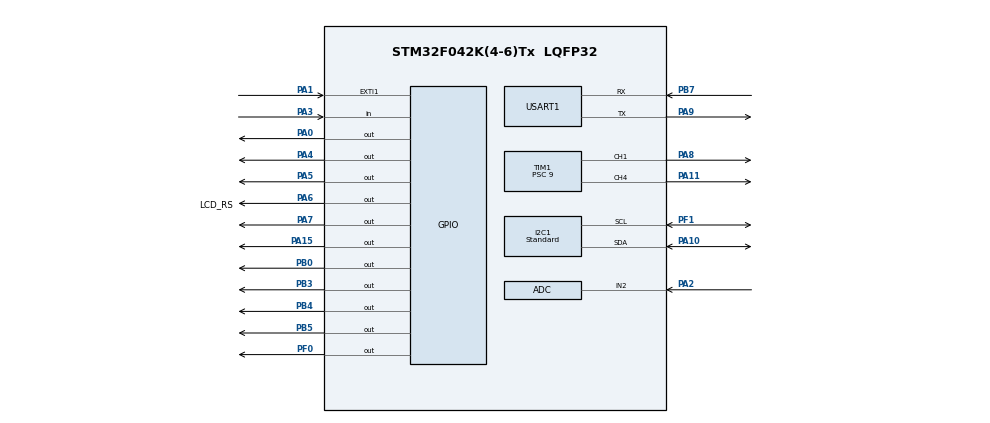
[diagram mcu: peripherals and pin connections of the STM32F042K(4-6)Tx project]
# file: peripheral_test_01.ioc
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Mcu.Family=STM32F0
SH.S_TIM1_CH4.0=TIM1_CH4,PWM Generation4 CH4
I2C1.I2C_Speed_Mode=I2C_Standard
Dma.ADC.0.Mode=DMA_CIRCULAR
Dma.ADC.0.Priority=DMA_PRIORITY_LOW
PA6.GPIO_Label=LCD_RS
TIM1.Pulse-PWM\ Generation1\ CH1=100
ProjectManager.StackSize=0x400
TIM1.Prescaler=9
NVIC.ADC1_IRQn=true\:2\:0\:true\:false\:true\:true\:true
TIM1.Channel-PWM\ Generation4\ CH4=TIM_CHANNEL_4
Dma.ADC.0.PeriphInc=DMA_PINC_DISABLE
TIM3.Period=199
Dma.ADC.0.Direction=DMA_PERIPH_TO_MEMORY
TIM14.Period=999
TIM1.Channel-PWM\ Generation1\ CH1=TIM_CHANNEL_1
TIM3.Prescaler=9999
PB7.Signal=USART1_RX
PA8.Signal=S_TIM1_CH1
VP_TIM1_VS_ClockSourceINT.Mode=Internal
PA0.Signal=GPIO_Output
Dma.ADC.0.MemInc=DMA_MINC_ENABLE
Mcu.Package=LQFP32
PA6.Signal=GPIO_Output
Dma.ADC.0.Instance=DMA1_Channel1
PA10.Signal=I2C1_SDA
PA15.Signal=GPIO_Output
Dma.ADC.0.MemDataAlignment=DMA_MDATAALIGN_HALFWORD
TIM1.Period=799
VP_TIM14_VS_ClockSourceINT.Mode=Enable_Timer
PF1-OSC_OUT.Mode=I2C
Dma.Request0=ADC
PA1.GPIO_ModeDefaultEXTI=GPIO_MODE_IT_RISING
ADC.ExternalTrigConv=ADC_EXTERNALTRIGCONV_T3_TRGO
VP_TIM3_VS_ClockSourceINT.Mode=Internal
PF1-OSC_OUT.Signal=I2C1_SCL
PB4.Signal=GPIO_Output
PA3.Signal=GPIO_Input
NVIC.TIM14_IRQn=true\:0\:0\:false\:false\:true\:true\:true
PA10.Mode=I2C
TIM3.AutoReloadPreload=TIM_AUTORELOAD_PRELOAD_ENABLE
ADC.ClockPrescaler=ADC_CLOCK_ASYNC_DIV1
Dma.ADC.0.PeriphDataAlignment=DMA_PDATAALIGN_HALFWORD
ADC.EnableAnalogWatchDog=false
USART1.VirtualMode-Asynchronous=VM_ASYNC
TIM1.AutoReloadPreload=TIM_AUTORELOAD_PRELOAD_ENABLE
PA9.Mode=Asynchronous
SH.S_TIM1_CH1.0=TIM1_CH1,PWM Generation1 CH1
ProjectManager.TargetToolchain=STM32CubeIDE
PA9.Signal=USART1_TX
PA1.Signal=GPXTI1
PA5.Signal=GPIO_Output
ADC.DMAContinuousRequests=ENABLE
board=custom
NVIC.TIM3_IRQn=true\:0\:0\:false\:false\:true\:true\:true
TIM1.TIM_MasterOutputTrigger=TIM_TRGO_UPDATE
ADC.EOCSelection=ADC_EOC_SEQ_CONV
Mcu.Name=STM32F042K(4-6)Tx
TIM14.Prescaler=9999
PA2.Signal=ADC_IN2
ADC.Overrun=ADC_OVR_DATA_OVERWRITTEN
PB3.Signal=GPIO_Output
PA4.Signal=GPIO_Output
PB5.Signal=GPIO_Output
PB7.Mode=Asynchronous
PA11.Signal=S_TIM1_CH4
ProjectManager.HeapSize=0x200
PA2.Mode=IN2
NVIC.DMA1_Channel1_IRQn=true\:0\:0\:false\:false\:true\:false\:true
PF0-OSC_IN.Signal=GPIO_Output
TIM3.TIM_MasterOutputTrigger=TIM_TRGO_UPDATE
PB0.Signal=GPIO_Output
PA7.Signal=GPIO_Output
NVIC.EXTI0_1_IRQn=true\:2\:0\:true\:false\:true\:true\:true

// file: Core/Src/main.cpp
/* USER CODE BEGIN Header */
/**
 ******************************************************************************
 * @file           : main.c
 * @brief          : Main program body
 ******************************************************************************
 * @attention
 *
 * <h2><center>&copy; Copyright (c) 2020 STMicroelectronics.
 * All rights reserved.</center></h2>
 *
 * This software component is licensed by ST under BSD 3-Clause license,
 * the "License"; You may not use this file except in compliance with the
 * License. You may obtain a copy of the License at:
 *                        opensource.org/licenses/BSD-3-Clause
 *
 ******************************************************************************
 */
/* USER CODE END Header */

#include <rotaryencoder.hpp>
#include "main.h"

/* USER CODE BEGIN Includes */
#include <stdio.h>
#include "bmp180.hpp"
#include "st7032.hpp"
#include "sht3x.hpp"
#include "mcp47x6.hpp"
#include "hd44780.hpp"
/* USER CODE END Includes */

/* USER CODE BEGIN PD */
#ifdef __GNUC__
#define PUTCHAR_PROTOTYPE int __io_putchar(int ch)
#else
#define PUTCHAR_PROTOTYPE int fputc(int ch, FILE *f)
#endif /* __GNUC__ */
/* USER CODE END PD */

ADC_HandleTypeDef hadc;
DMA_HandleTypeDef hdma_adc;

I2C_HandleTypeDef hi2c1;

TIM_HandleTypeDef htim1;
TIM_HandleTypeDef htim3;
TIM_HandleTypeDef htim14;

UART_HandleTypeDef huart1;

/* USER CODE BEGIN PV */
static uint16_t adcData[1];
const uint16_t int2bin[] = {0x6565 ,0x4001, 0xE4E4, 0xE4A5, 0xC181, 0xA5A5, 0xA5E5, 0x6401, 0xE5E5, 0xE5A5};
int incremental = 0;
RotaryEncoder renc(GPIOA, GPIO_PIN_3);
/* USER CODE END PV */

void SystemClock_Config(void);
static void MX_GPIO_Init(void);
static void MX_DMA_Init(void);
static void MX_USART1_UART_Init(void);
static void MX_ADC_Init(void);
static void MX_I2C1_Init(void);
static void MX_TIM3_Init(void);
static void MX_TIM14_Init(void);
static void MX_TIM1_Init(void);
/* USER CODE BEGIN PFP */
void setPWM(TIM_HandleTypeDef *htim, uint32_t Channel, float duty);
void setSegment16(GPIO_TypeDef* serPort, uint16_t serPin, GPIO_TypeDef* srclkPort, uint16_t srclkPin, GPIO_TypeDef* rclkPort, uint16_t rclkPin, uint16_t *data, uint8_t len);
void convertInt2Bin(int val, uint16_t *data, uint8_t len);
/* USER CODE END PFP */

int main(void)
{

  /* MCU Configuration--------------------------------------------------------*/

  /* Reset of all peripherals, Initializes the Flash interface and the Systick. */
  HAL_Init();

  /* Configure the system clock */
  SystemClock_Config();

  /* Initialize all configured peripherals */
  MX_GPIO_Init();
  MX_DMA_Init();
  MX_USART1_UART_Init();
  MX_ADC_Init();
  MX_I2C1_Init();
  MX_TIM3_Init();
  MX_TIM14_Init();
  MX_TIM1_Init();
  /* USER CODE BEGIN 2 */

  setbuf(stdout, NULL);

  uint16_t data[6];

  St7032 lcd(hi2c1);
  lcd.Init();
  char str[8];

  int volt = 0;
  bool flag = true;
  Mcp47x6 dac(hi2c1);

  Sht3x sht(hi2c1);
  float temp2, humi2;

  Bmp180 bmp(hi2c1);
  while(!bmp.TestConnection());
  bmp.Init();

  GPIO_TypeDef* dataPorts[] = {GPIOA, GPIOB, GPIOB, GPIOB};
  uint16_t dataPins[] = {GPIO_PIN_15, GPIO_PIN_3, GPIO_PIN_4, GPIO_PIN_5};

  Hd44780 lcd2(LCD_4BITMODE,
              GPIOA, GPIO_PIN_6,
              GPIOA, GPIO_PIN_7,
              GPIOB, GPIO_PIN_0,
              dataPorts, dataPins);
  lcd2.Init();
  lcd2.SendData('i');
  lcd2.Puts("test123456");
  lcd2.SetCursor(1, 2);
  lcd2.Puts("JP7FKF");
  HAL_Delay(1000);
  lcd2.Clear();
  lcd2.Puts("AH0CV!");
  HAL_Delay(1000);
  lcd2.Clear();
  lcd2.Puts("HOME!");

  int i = 999909;

//  if(HAL_ADCEx_Calibration_Start(&hadc) != HAL_OK)
//    Error_Handler();
  HAL_ADC_Start_DMA(&hadc,(uint32_t *)adcData, 1);

  /* USER CODE END 2 */

  /* Infinite loop */
  /* USER CODE BEGIN WHILE */
  while (1)
  {
//    HAL_GPIO_TogglePin(GPIOF, GPIO_PIN_0);

    if (flag)
    {
      volt += 50;
      if(volt >= 4095){
        volt = 4095;
        flag = false;
      }
    }else{
      volt -= 50;
      if(volt<0){
        volt = 0;
        flag = true;
      }
    }
    dac.SetDacOut(volt);

    sht.GetTemperatureHumiditySingleShot(&temp2, &humi2);
    lcd.Home();
    sprintf(str, "%d", (int)temp2);
    lcd.Puts(str);
    sprintf(str, "%d", (int)humi2);
    lcd.SetCursor(0,4);
    lcd.Puts(str);
    sprintf(str, "%4d", (int)adcData[0]);
    lcd.SetCursor(1,0);
    lcd.Puts(str);

//    printf("TEMP1: %d  Deg.\r\n", (int)temp2);
//    printf("HUMI1: %d  %%  \r\n", (int)humi2);
//    printf("TEMP2: %d  Deg.\r\n", (int)bmp.GetTemperatureCelsius());
//    printf("PRES2: %d  hPa \r\n", (int)bmp.GetPressure(3)/100);
//    printf("Alt.: %4.2f m  \r\n", bmp.CalcAltitude(humi2, 0));

//    printf("normal loop ended\r\n");

    convertInt2Bin(i, data, 6);
    setSegment16(GPIOA, GPIO_PIN_4, GPIOA,GPIO_PIN_5, GPIOA,GPIO_PIN_0, data, 6);
    i++;
    HAL_Delay(100);
    /* USER CODE END WHILE */

  }
}

void SystemClock_Config(void)
{
  RCC_OscInitTypeDef RCC_OscInitStruct = {0};
  RCC_ClkInitTypeDef RCC_ClkInitStruct = {0};
  RCC_PeriphCLKInitTypeDef PeriphClkInit = {0};

  /** Initializes the CPU, AHB and APB busses clocks
  */
  RCC_OscInitStruct.OscillatorType = RCC_OSCILLATORTYPE_HSI|RCC_OSCILLATORTYPE_HSI14;
  RCC_OscInitStruct.HSIState = RCC_HSI_ON;
  RCC_OscInitStruct.HSI14State = RCC_HSI14_ON;
  RCC_OscInitStruct.HSICalibrationValue = RCC_HSICALIBRATION_DEFAULT;
  RCC_OscInitStruct.HSI14CalibrationValue = 16;
  RCC_OscInitStruct.PLL.PLLState = RCC_PLL_NONE;
  if (HAL_RCC_OscConfig(&RCC_OscInitStruct) != HAL_OK)
  {
    Error_Handler();
  }
  /** Initializes the CPU, AHB and APB busses clocks
  */
  RCC_ClkInitStruct.ClockType = RCC_CLOCKTYPE_HCLK|RCC_CLOCKTYPE_SYSCLK
                              |RCC_CLOCKTYPE_PCLK1;
  RCC_ClkInitStruct.SYSCLKSource = RCC_SYSCLKSOURCE_HSI;
  RCC_ClkInitStruct.AHBCLKDivider = RCC_SYSCLK_DIV1;
  RCC_ClkInitStruct.APB1CLKDivider = RCC_HCLK_DIV1;

  if (HAL_RCC_ClockConfig(&RCC_ClkInitStruct, FLASH_LATENCY_0) != HAL_OK)
  {
    Error_Handler();
  }
  PeriphClkInit.PeriphClockSelection = RCC_PERIPHCLK_USART1|RCC_PERIPHCLK_I2C1;
  PeriphClkInit.Usart1ClockSelection = RCC_USART1CLKSOURCE_PCLK1;
  PeriphClkInit.I2c1ClockSelection = RCC_I2C1CLKSOURCE_HSI;
  if (HAL_RCCEx_PeriphCLKConfig(&PeriphClkInit) != HAL_OK)
  {
    Error_Handler();
  }
}

static void MX_ADC_Init(void)
{

  ADC_ChannelConfTypeDef sConfig = {0};

  /** Configure the global features of the ADC (Clock, Resolution, Data Alignment and number of conversion)
  */
  hadc.Instance = ADC1;
  hadc.Init.ClockPrescaler = ADC_CLOCK_ASYNC_DIV1;
  hadc.Init.Resolution = ADC_RESOLUTION_12B;
  hadc.Init.DataAlign = ADC_DATAALIGN_RIGHT;
  hadc.Init.ScanConvMode = ADC_SCAN_DIRECTION_FORWARD;
  hadc.Init.EOCSelection = ADC_EOC_SEQ_CONV;
  hadc.Init.LowPowerAutoWait = DISABLE;
  hadc.Init.LowPowerAutoPowerOff = DISABLE;
  hadc.Init.ContinuousConvMode = DISABLE;
  hadc.Init.DiscontinuousConvMode = DISABLE;
  hadc.Init.ExternalTrigConv = ADC_EXTERNALTRIGCONV_T3_TRGO;
  hadc.Init.ExternalTrigConvEdge = ADC_EXTERNALTRIGCONVEDGE_RISING;
  hadc.Init.DMAContinuousRequests = ENABLE;
  hadc.Init.Overrun = ADC_OVR_DATA_OVERWRITTEN;
  if (HAL_ADC_Init(&hadc) != HAL_OK)
  {
    Error_Handler();
  }
  /** Configure for the selected ADC regular channel to be converted.
  */
  sConfig.Channel = ADC_CHANNEL_2;
  sConfig.Rank = ADC_RANK_CHANNEL_NUMBER;
  sConfig.SamplingTime = ADC_SAMPLETIME_1CYCLE_5;
  if (HAL_ADC_ConfigChannel(&hadc, &sConfig) != HAL_OK)
  {
    Error_Handler();
  }

}

static void MX_I2C1_Init(void)
{

  hi2c1.Instance = I2C1;
  hi2c1.Init.Timing = 0x2000090E;
  hi2c1.Init.OwnAddress1 = 0;
  hi2c1.Init.AddressingMode = I2C_ADDRESSINGMODE_7BIT;
  hi2c1.Init.DualAddressMode = I2C_DUALADDRESS_DISABLE;
  hi2c1.Init.OwnAddress2 = 0;
  hi2c1.Init.OwnAddress2Masks = I2C_OA2_NOMASK;
  hi2c1.Init.GeneralCallMode = I2C_GENERALCALL_DISABLE;
  hi2c1.Init.NoStretchMode = I2C_NOSTRETCH_DISABLE;
  if (HAL_I2C_Init(&hi2c1) != HAL_OK)
  {
    Error_Handler();
  }
  /** Configure Analogue filter
  */
  if (HAL_I2CEx_ConfigAnalogFilter(&hi2c1, I2C_ANALOGFILTER_ENABLE) != HAL_OK)
  {
    Error_Handler();
  }
  /** Configure Digital filter
  */
  if (HAL_I2CEx_ConfigDigitalFilter(&hi2c1, 0) != HAL_OK)
  {
    Error_Handler();
  }

}

static void MX_TIM1_Init(void)
{

  TIM_ClockConfigTypeDef sClockSourceConfig = {0};
  TIM_MasterConfigTypeDef sMasterConfig = {0};
  TIM_OC_InitTypeDef sConfigOC = {0};
  TIM_BreakDeadTimeConfigTypeDef sBreakDeadTimeConfig = {0};

  htim1.Instance = TIM1;
  htim1.Init.Prescaler = 9;
  htim1.Init.CounterMode = TIM_COUNTERMODE_UP;
  htim1.Init.Period = 799;
  htim1.Init.ClockDivision = TIM_CLOCKDIVISION_DIV1;
  htim1.Init.RepetitionCounter = 0;
  htim1.Init.AutoReloadPreload = TIM_AUTORELOAD_PRELOAD_ENABLE;
  if (HAL_TIM_Base_Init(&htim1) != HAL_OK)
  {
    Error_Handler();
  }
  sClockSourceConfig.ClockSource = TIM_CLOCKSOURCE_INTERNAL;
  if (HAL_TIM_ConfigClockSource(&htim1, &sClockSourceConfig) != HAL_OK)
  {
    Error_Handler();
  }
  if (HAL_TIM_PWM_Init(&htim1) != HAL_OK)
  {
    Error_Handler();
  }
  sMasterConfig.MasterOutputTrigger = TIM_TRGO_UPDATE;
  sMasterConfig.MasterSlaveMode = TIM_MASTERSLAVEMODE_DISABLE;
  if (HAL_TIMEx_MasterConfigSynchronization(&htim1, &sMasterConfig) != HAL_OK)
  {
    Error_Handler();
  }
  sConfigOC.OCMode = TIM_OCMODE_PWM1;
  sConfigOC.Pulse = 100;
  sConfigOC.OCPolarity = TIM_OCPOLARITY_HIGH;
  sConfigOC.OCNPolarity = TIM_OCNPOLARITY_HIGH;
  sConfigOC.OCFastMode = TIM_OCFAST_DISABLE;
  sConfigOC.OCIdleState = TIM_OCIDLESTATE_RESET;
  sConfigOC.OCNIdleState = TIM_OCNIDLESTATE_RESET;
  if (HAL_TIM_PWM_ConfigChannel(&htim1, &sConfigOC, TIM_CHANNEL_1) != HAL_OK)
  {
    Error_Handler();
  }
  sConfigOC.Pulse = 0;
  if (HAL_TIM_PWM_ConfigChannel(&htim1, &sConfigOC, TIM_CHANNEL_4) != HAL_OK)
  {
    Error_Handler();
  }
  sBreakDeadTimeConfig.OffStateRunMode = TIM_OSSR_DISABLE;
  sBreakDeadTimeConfig.OffStateIDLEMode = TIM_OSSI_DISABLE;
  sBreakDeadTimeConfig.LockLevel = TIM_LOCKLEVEL_OFF;
  sBreakDeadTimeConfig.DeadTime = 0;
  sBreakDeadTimeConfig.BreakState = TIM_BREAK_DISABLE;
  sBreakDeadTimeConfig.BreakPolarity = TIM_BREAKPOLARITY_HIGH;
  sBreakDeadTimeConfig.AutomaticOutput = TIM_AUTOMATICOUTPUT_DISABLE;
  if (HAL_TIMEx_ConfigBreakDeadTime(&htim1, &sBreakDeadTimeConfig) != HAL_OK)
  {
    Error_Handler();
  }
  /* USER CODE BEGIN TIM1_Init 2 */

  HAL_TIM_PWM_Start(&htim1, TIM_CHANNEL_1);
  HAL_TIM_PWM_Start(&htim1, TIM_CHANNEL_4);
  /* USER CODE END TIM1_Init 2 */
  HAL_TIM_MspPostInit(&htim1);

}

static void MX_TIM3_Init(void)
{

  TIM_ClockConfigTypeDef sClockSourceConfig = {0};
  TIM_MasterConfigTypeDef sMasterConfig = {0};

  htim3.Instance = TIM3;
  htim3.Init.Prescaler = 9999;
  htim3.Init.CounterMode = TIM_COUNTERMODE_UP;
  htim3.Init.Period = 199;
  htim3.Init.ClockDivision = TIM_CLOCKDIVISION_DIV1;
  htim3.Init.AutoReloadPreload = TIM_AUTORELOAD_PRELOAD_ENABLE;
  if (HAL_TIM_Base_Init(&htim3) != HAL_OK)
  {
    Error_Handler();
  }
  sClockSourceConfig.ClockSource = TIM_CLOCKSOURCE_INTERNAL;
  if (HAL_TIM_ConfigClockSource(&htim3, &sClockSourceConfig) != HAL_OK)
  {
    Error_Handler();
  }
  sMasterConfig.MasterOutputTrigger = TIM_TRGO_UPDATE;
  sMasterConfig.MasterSlaveMode = TIM_MASTERSLAVEMODE_DISABLE;
  if (HAL_TIMEx_MasterConfigSynchronization(&htim3, &sMasterConfig) != HAL_OK)
  {
    Error_Handler();
  }
  /* USER CODE BEGIN TIM3_Init 2 */
  HAL_TIM_Base_Start_IT(&htim3);
  /* USER CODE END TIM3_Init 2 */

}

static void MX_TIM14_Init(void)
{

  htim14.Instance = TIM14;
  htim14.Init.Prescaler = 9999;
  htim14.Init.CounterMode = TIM_COUNTERMODE_UP;
  htim14.Init.Period = 999;
  htim14.Init.ClockDivision = TIM_CLOCKDIVISION_DIV1;
  htim14.Init.AutoReloadPreload = TIM_AUTORELOAD_PRELOAD_DISABLE;
  if (HAL_TIM_Base_Init(&htim14) != HAL_OK)
  {
    Error_Handler();
  }
  /* USER CODE BEGIN TIM14_Init 2 */
  HAL_TIM_Base_Start_IT(&htim14);
  /* USER CODE END TIM14_Init 2 */

}

static void MX_USART1_UART_Init(void)
{

  huart1.Instance = USART1;
  huart1.Init.BaudRate = 38400;
  huart1.Init.WordLength = UART_WORDLENGTH_8B;
  huart1.Init.StopBits = UART_STOPBITS_1;
  huart1.Init.Parity = UART_PARITY_NONE;
  huart1.Init.Mode = UART_MODE_TX_RX;
  huart1.Init.HwFlowCtl = UART_HWCONTROL_NONE;
  huart1.Init.OverSampling = UART_OVERSAMPLING_16;
  huart1.Init.OneBitSampling = UART_ONE_BIT_SAMPLE_DISABLE;
  huart1.AdvancedInit.AdvFeatureInit = UART_ADVFEATURE_NO_INIT;
  if (HAL_UART_Init(&huart1) != HAL_OK)
  {
    Error_Handler();
  }

}

static void MX_DMA_Init(void)
{

  /* DMA controller clock enable */
  __HAL_RCC_DMA1_CLK_ENABLE();

  /* DMA interrupt init */
  /* DMA1_Channel1_IRQn interrupt configuration */
  HAL_NVIC_SetPriority(DMA1_Channel1_IRQn, 0, 0);
  HAL_NVIC_EnableIRQ(DMA1_Channel1_IRQn);

}

static void MX_GPIO_Init(void)
{
  GPIO_InitTypeDef GPIO_InitStruct = {0};

  /* GPIO Ports Clock Enable */
  __HAL_RCC_GPIOF_CLK_ENABLE();
  __HAL_RCC_GPIOA_CLK_ENABLE();
  __HAL_RCC_GPIOB_CLK_ENABLE();

  /*Configure GPIO pin Output Level */
  HAL_GPIO_WritePin(GPIOF, GPIO_PIN_0, GPIO_PIN_RESET);

  /*Configure GPIO pin Output Level */
  HAL_GPIO_WritePin(GPIOA, GPIO_PIN_0|GPIO_PIN_4|GPIO_PIN_5|LCD_RS_Pin
                          |GPIO_PIN_7|GPIO_PIN_15, GPIO_PIN_RESET);

  /*Configure GPIO pin Output Level */
  HAL_GPIO_WritePin(GPIOB, GPIO_PIN_0|GPIO_PIN_3|GPIO_PIN_4|GPIO_PIN_5, GPIO_PIN_RESET);

  /*Configure GPIO pin : PF0 */
  GPIO_InitStruct.Pin = GPIO_PIN_0;
  GPIO_InitStruct.Mode = GPIO_MODE_OUTPUT_PP;
  GPIO_InitStruct.Pull = GPIO_NOPULL;
  GPIO_InitStruct.Speed = GPIO_SPEED_FREQ_LOW;
  HAL_GPIO_Init(GPIOF, &GPIO_InitStruct);

  /*Configure GPIO pins : PA0 PA4 PA5 LCD_RS_Pin
                           PA7 PA15 */
  GPIO_InitStruct.Pin = GPIO_PIN_0|GPIO_PIN_4|GPIO_PIN_5|LCD_RS_Pin
                          |GPIO_PIN_7|GPIO_PIN_15;
  GPIO_InitStruct.Mode = GPIO_MODE_OUTPUT_PP;
  GPIO_InitStruct.Pull = GPIO_NOPULL;
  GPIO_InitStruct.Speed = GPIO_SPEED_FREQ_LOW;
  HAL_GPIO_Init(GPIOA, &GPIO_InitStruct);

  /*Configure GPIO pin : PA1 */
  GPIO_InitStruct.Pin = GPIO_PIN_1;
  GPIO_InitStruct.Mode = GPIO_MODE_IT_RISING;
  GPIO_InitStruct.Pull = GPIO_NOPULL;
  HAL_GPIO_Init(GPIOA, &GPIO_InitStruct);

  /*Configure GPIO pin : PA3 */
  GPIO_InitStruct.Pin = GPIO_PIN_3;
  GPIO_InitStruct.Mode = GPIO_MODE_INPUT;
  GPIO_InitStruct.Pull = GPIO_NOPULL;
  HAL_GPIO_Init(GPIOA, &GPIO_InitStruct);

  /*Configure GPIO pins : PB0 PB3 PB4 PB5 */
  GPIO_InitStruct.Pin = GPIO_PIN_0|GPIO_PIN_3|GPIO_PIN_4|GPIO_PIN_5;
  GPIO_InitStruct.Mode = GPIO_MODE_OUTPUT_PP;
  GPIO_InitStruct.Pull = GPIO_NOPULL;
  GPIO_InitStruct.Speed = GPIO_SPEED_FREQ_LOW;
  HAL_GPIO_Init(GPIOB, &GPIO_InitStruct);

  /* EXTI interrupt init*/
  HAL_NVIC_SetPriority(EXTI0_1_IRQn, 2, 0);
  HAL_NVIC_EnableIRQ(EXTI0_1_IRQn);

}

/* USER CODE BEGIN 4 */
/* C++ detection */
#ifdef __cplusplus
extern "C" {
#endif
int __io_putchar(int ch) {
  HAL_UART_Transmit(&huart1, (uint8_t *)&ch, 1, 100);
  return ch;
}
/* C++ detection */
#ifdef __cplusplus
}
#endif

void HAL_GPIO_EXTI_Callback(uint16_t GPIO_Pin){
//  HAL_Delay(1);
//  printf("EXTI callback called!\r\n");
  if (GPIO_Pin == GPIO_PIN_1){
//    printf("gpio1!\r\n");
//    setPWM(&htim1, TIM_CHANNEL_1, 0.7);
    incremental = renc.GetIncrementedValue(incremental, -10);
    printf("dir: %d\r\n", incremental);
  }
  if (GPIO_Pin == GPIO_PIN_3){
//    printf("gpio3!\r\n");
//    setPWM(&htim1, TIM_CHANNEL_1, 0.01);
  }
}

void HAL_TIM_PeriodElapsedCallback(TIM_HandleTypeDef *htim){
  if(htim == &htim3)
    HAL_GPIO_TogglePin(GPIOF, GPIO_PIN_0);
//  if(htim == &htim14)
//    printf("htim14 callback!\r\n");
}

void HAL_ADC_ConvCpltCallback(ADC_HandleTypeDef *AdcHandle){
  setPWM(&htim1, TIM_CHANNEL_1, (float)adcData[0]/4096);
//    printf("1:%4d, 2:%4d, 3:%4d, 4:%4d, 5:%4d\r\n", adcData[0],adcData[1],adcData[2],adcData[3],adcData[4]);
  //  printf("ADC CH1 Value is %d\r\n",adcData[0]);
  //  printf("ADC CH2 Value is %d\r\n",adcData[1]);
  //  printf("ADC CH3 Value is %d\r\n",adcData[2]);
  //  printf("ADC CH4 Value is %d\r\n",adcData[3]);
  //  printf("ADC CH5 Value is %d\r\n",adcData[4]);
  //  printf("ADC CH6 Value is %d\r\n",adcData[5]);
  //  printf("ADC CH7 Value is %d\r\n",adcData[6]);
  //  printf("ADC CH8 Value is %d\r\n",adcData[7]);
}

void setPWM(TIM_HandleTypeDef *htim, uint32_t Channel, float duty)
{
  TIM_OC_InitTypeDef sConfigOC = {0};

  sConfigOC.OCMode = TIM_OCMODE_PWM1;
  sConfigOC.Pulse = (uint32_t)htim->Init.Period*duty;
  sConfigOC.OCPolarity = TIM_OCPOLARITY_HIGH;
  sConfigOC.OCNPolarity = TIM_OCNPOLARITY_HIGH;
  sConfigOC.OCFastMode = TIM_OCFAST_DISABLE;
  sConfigOC.OCIdleState = TIM_OCIDLESTATE_RESET;
  sConfigOC.OCNIdleState = TIM_OCNIDLESTATE_RESET;

  if(HAL_TIM_PWM_ConfigChannel(htim, &sConfigOC, Channel) != HAL_OK)
    Error_Handler();

  if(HAL_TIM_PWM_Start(htim, Channel) != HAL_OK)
    Error_Handler();
}

void setSegment16(GPIO_TypeDef* serPort, uint16_t serPin, GPIO_TypeDef* srclkPort, uint16_t srclkPin, GPIO_TypeDef* rclkPort, uint16_t rclkPin, uint16_t *data, uint8_t len){
  for(int i=0;i<len;i++){
    for(int j=0;j<16;j++){
      HAL_GPIO_WritePin(serPort, serPin, (data[i] >> j) & 0x01 ? GPIO_PIN_SET : GPIO_PIN_RESET);
      HAL_GPIO_WritePin(srclkPort, srclkPin, GPIO_PIN_SET);
      HAL_GPIO_WritePin(srclkPort, srclkPin, GPIO_PIN_RESET);
    }
  }
  HAL_GPIO_WritePin(rclkPort, rclkPin, GPIO_PIN_SET);
  HAL_GPIO_WritePin(rclkPort, rclkPin, GPIO_PIN_RESET);
}

void convertInt2Bin(int val, uint16_t *data, uint8_t len){
  for(int i=0; i<len; i++){
    data[i] = int2bin[val%10];
    val /= 10;
  }
}

/* USER CODE END 4 */

void Error_Handler(void)
{
  /* USER CODE BEGIN Error_Handler_Debug */
  /* User can add his own implementation to report the HAL error return state */
  printf("HAL API Error Occurred!\r\n");
  /* USER CODE END Error_Handler_Debug */
}

/************************ (C) COPYRIGHT STMicroelectronics *****END OF FILE****/
